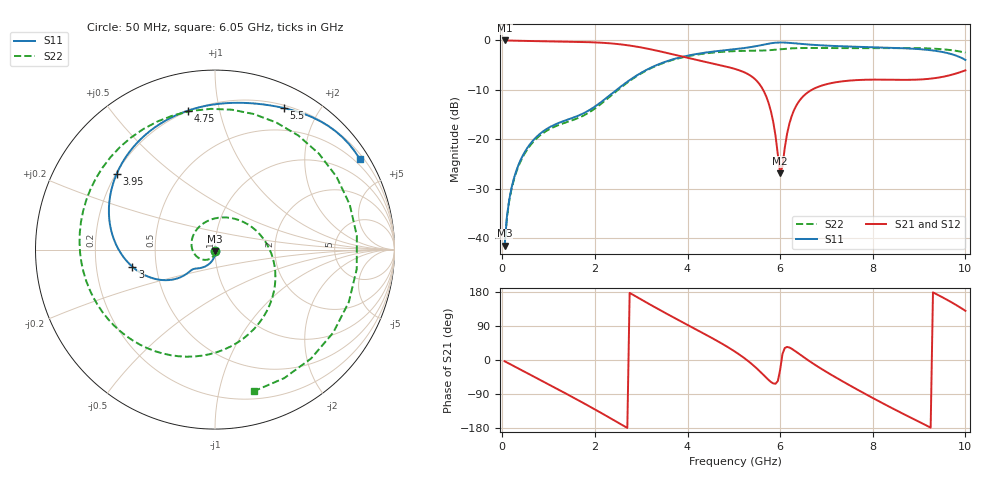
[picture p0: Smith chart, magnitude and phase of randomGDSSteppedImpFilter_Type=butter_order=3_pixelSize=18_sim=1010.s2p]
! freq	dB(S11)	phase(S11)	dB(S12)	phase(S12)
!  dB(S21)	phase(S21)	dB(S22)	phase(S22)
!S-par simulation data
#  GHz  S  DB  R 50
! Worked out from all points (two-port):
!   200 points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, 50 MHz to 10 GHz, reference 50 ohm
!   highest |S21| = -0.02 dB at 50 MHz (marker M1); lowest = -26.9 dB at 6 GHz (marker M2)
!   |S21| within 3 dB of the highest: start of sweep to 3.77 GHz
!   lowest |S11| = -41.6 dB at 50 MHz (marker M3), VSWR 1.02, Z = 50.2 - j0.822 ohm
!   |S11| at or under -10 dB: start of sweep to 2.471 GHz
!   |S22| runs from -41.6 to -1.5 dB; largest |S21 - S12| = 0
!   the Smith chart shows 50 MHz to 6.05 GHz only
!   S11 on the Smith chart (normalised r, x): 50 MHz: 1.00, -0.02; 3 GHz: 0.36, -0.09; 3.95 GHz: 0.20, +0.33; 4.75 GHz: 0.20, +0.81; 5.5 GHz: 0.23, +1.57; 6.05 GHz: 0.32, +3.45
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0.05  -41.55 -78.2  -0.02 -3.3  -0.02 -3.3  -41.65 -80.2
0.2  -29.83 -91.9  -0.06 -13.0  -0.06 -13.0  -30.05 -99.8
0.5  -22.36 -108.6  -0.11 -32.2  -0.11 -32.2  -22.66 -129.5
1.15  -16.98 -132.5  -0.23 -74.0  -0.23 -74.0  -17.38 166.0
1.75  -14.78 -139.2  -0.33 -113.5  -0.33 -113.5  -15.24 91.4
2.4  -10.52 -145.5  -0.66 -158.2  -0.66 -158.2  -10.78 6.8
3  -6.56 -168.2  -1.44 159.6  -1.44 159.6  -6.69 -54.5
3.4  -4.75 171.6  -2.22 132.1  -2.22 132.1  -4.86 -89.0
3.95  -3.21 142.5  -3.42 95.8  -3.42 95.8  -3.32 -131.9
4.75  -2.06 101.0  -5.13 42.7  -5.13 42.7  -2.32 163.8
5.05  -1.75 86.1  -5.86 20.1  -5.86 20.1  -2.17 133.0
5.5  -1.14 64.1  -8.25 -22.8  -8.25 -22.8  -2.09 64.3
5.75  -0.67 50.5  -12.67 -52.6  -12.67 -52.6  -2.00 5.6
6  -0.43 35.1  -26.93 -25.7  -26.93 -25.7  -1.79 -61.7
6.05  -0.43 32.1  -25.47 16.0  -25.47 16.0  -1.75 -74.4
6.35  -0.63 15.1  -13.18 21.4  -13.18 21.4  -1.58 -137.8
6.7  -0.90 -2.2  -9.93 -8.5  -9.93 -8.5  -1.54 170.7
7.1  -1.11 -20.3  -8.66 -38.8  -8.66 -38.8  -1.56 125.3
7.45  -1.24 -35.5  -8.19 -63.4  -8.19 -63.4  -1.58 90.2
8.35  -1.48 -73.7  -7.97 -122.9  -7.97 -122.9  -1.54 8.2
9.2  -1.94 -113.4  -7.80 -175.4  -7.80 -175.4  -1.63 -56.0
10  -3.96 -169.8  -6.08 129.8  -6.08 129.8  -2.49 -104.2
